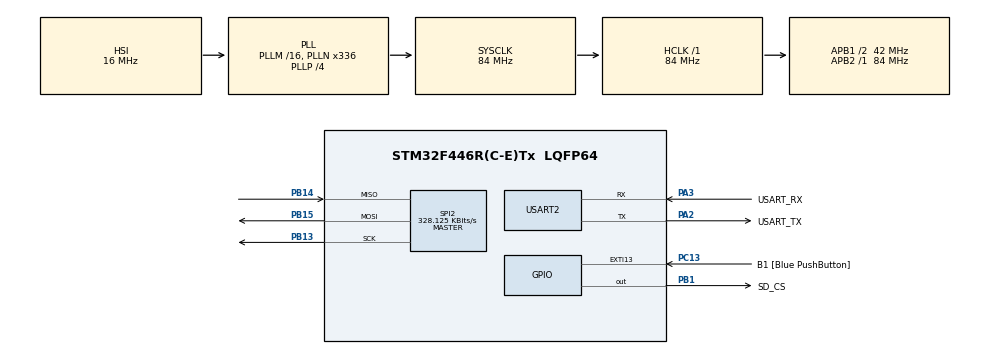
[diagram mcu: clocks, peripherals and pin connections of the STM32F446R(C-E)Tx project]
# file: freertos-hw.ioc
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Mcu.Family=STM32F4
Mcu.Name=STM32F446R(C-E)Tx
Mcu.Package=LQFP64
NVIC.PriorityGroup=NVIC_PRIORITYGROUP_0
PA13.GPIO_Label=TMS
PA13.Mode=Serial_Wire
PA13.Signal=SYS_JTMS-SWDIO
PA14.GPIO_Label=TCK
PA14.Mode=Serial_Wire
PA14.Signal=SYS_JTCK-SWCLK
PA2.GPIO_Label=USART_TX
PA2.Mode=Asynchronous
PA2.Signal=USART2_TX
PA3.GPIO_Label=USART_RX
PA3.Mode=Asynchronous
PA3.Signal=USART2_RX
PB1.GPIO_Label=SD_CS
PB1.Signal=GPIO_Output
PB12.Signal=SPI2_NSS
PB13.Mode=Full_Duplex_Master
PB13.Signal=SPI2_SCK
PB14.Mode=Full_Duplex_Master
PB14.Signal=SPI2_MISO
PB15.Mode=Full_Duplex_Master
PB15.Signal=SPI2_MOSI
PB3.GPIO_Label=SWO
PB3.Signal=SYS_JTDO-SWO
PC13.GPIO_Label=B1 [Blue PushButton]
PC13.GPIO_ModeDefaultEXTI=GPIO_MODE_IT_FALLING
PC13.Signal=GPXTI13
PC14-OSC32_IN.Mode=LSE-External-Oscillator
PC14-OSC32_IN.Signal=RCC_OSC32_IN
PC15-OSC32_OUT.Mode=LSE-External-Oscillator
PC15-OSC32_OUT.Signal=RCC_OSC32_OUT
PH0-OSC_IN.Mode=HSE-External-Oscillator
PH0-OSC_IN.Signal=RCC_OSC_IN
PH1-OSC_OUT.Mode=HSE-External-Oscillator
PH1-OSC_OUT.Signal=RCC_OSC_OUT
ProjectManager.HeapSize=0x200
ProjectManager.StackSize=0x400
ProjectManager.TargetToolchain=STM32CubeIDE
RCC.48MHZClocksFreq_Value=84000000
RCC.AHBFreq_Value=84000000
RCC.APB1CLKDivider=RCC_HCLK_DIV2
RCC.APB1Freq_Value=42000000
RCC.APB1TimFreq_Value=84000000
RCC.APB2Freq_Value=84000000
RCC.APB2TimFreq_Value=84000000
RCC.CortexFreq_Value=84000000
RCC.FLatency-AdvancedSettings=FLASH_LATENCY_2
RCC.HCLKFreq_Value=84000000
RCC.HSE_VALUE=8000000
RCC.HSI_VALUE=16000000
RCC.PLLN=336
RCC.PLLP=RCC_PLLP_DIV4
RCC.SYSCLKFreq_VALUE=84000000
RCC.SYSCLKSource=RCC_SYSCLKSOURCE_PLLCLK
RCC.USBFreq_Value=168000000
RCC.VCOOutputFreq_Value=336000000
SPI2.BaudRatePrescaler=SPI_BAUDRATEPRESCALER_128
SPI2.CLKPhase=SPI_PHASE_1EDGE
SPI2.CalculateBaudRate=328.125 KBits/s
SPI2.Direction=SPI_DIRECTION_2LINES
SPI2.FirstBit=SPI_FIRSTBIT_MSB
SPI2.Mode=SPI_MODE_MASTER
SPI2.VirtualType=VM_MASTER
USART2.VirtualMode=VM_ASYNC
VP_FATFS_VS_Generic.Mode=User_defined
board=NUCLEO-F446RE

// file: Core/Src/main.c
/* USER CODE BEGIN Header */
/**
  ******************************************************************************
  * @file           : main.c
  * @brief          : Main program body
  ******************************************************************************
  * @attention
  *
  * Copyright (c) 2023 STMicroelectronics.
  * All rights reserved.
  *
  * This software is licensed under terms that can be found in the LICENSE file
  * in the root directory of this software component.
  * If no LICENSE file comes with this software, it is provided AS-IS.
  *
  ******************************************************************************
  */
/* USER CODE END Header */
#include "stdarg.h"
#include "main.h"
#include "fatfs.h"

/* USER CODE BEGIN PD */
// HAL_GPIO_WritePin	(	GPIO_TypeDef * 	GPIOx,
//uint16_t 	GPIO_Pin,
//GPIO_PinState 	PinState
//)

#define SD_CS_PIN  GPIO_PIN_1
#define SD_CS_BANK GPIOB
#define SD_CS_LOW()   HAL_GPIO_WritePin	(SD_CS_BANK,SD_CS_PIN,GPIO_PIN_RESET)
#define SD_CS_HIGH()  HAL_GPIO_WritePin	(SD_CS_BANK,SD_CS_PIN,GPIO_PIN_SET)
#define N_CS 8
//CMD DEFS

typedef enum {
	CMD0 = 0, //GO_IDLE_STATE
	CMD1 = 1,//SEND_OP_CMD
	ACMD41 = 41, //APP_SEND_OP_CODE - SDC only - app cmd
	CMD8 = 8, //SEND_IF_COND
	CMD9 = 9, //SEND_CSD
	CMD10= 10, //SEND_CID
	CMD12 = 12, //STOP_TRANSMISSION
	CMD16 = 16, //SET_BLOCKLEN
	CMD17 = 17, //READ_SINGLE_BLOCK
	CMD18 = 18, //READ_MULTIPLE_BLOCKS
	CMD23 = 23, // SET_BLOCK_COUNT if appcmd first, becomes SET_WE_BLOCK_ERASE_CNT
	ACMD23 = 23|0x40, //SET_WE_BLOCK_ERASE_CNT - really 23, names like this to prevent conflict
	CMD24 = 24, //WRITE_BLOCK
	CMD25 = 25, //WRITE_MULTIPLE_BLOCK
	CMD55 = 55, //APP_CMD must precede any app cmd
	CMD58 = 58 //READ_OCR
}SD_cmd_t;

/* USER CODE END PD */

SPI_HandleTypeDef hspi2;

UART_HandleTypeDef huart2;

void SystemClock_Config(void);
static void MX_GPIO_Init(void);
static void MX_USART2_UART_Init(void);
static void MX_SPI2_Init(void);
/* USER CODE BEGIN PFP */
#define PUTCHAR_PROTOTYPE int __io_putchar(int ch)
/* USER CODE END PFP */

/* USER CODE BEGIN 0 */

uint8_t CRCTable[256];
void GenerateCRCTable();
uint8_t CRCAdd(uint8_t CRC_val , uint8_t message_byte);
uint8_t getCRC(uint8_t message[], int length);
uint8_t fixedPointLog2(uint8_t val);

//Really should be error type
//Should also take read buffer? write buffer?
uint8_t send_SD_cmd(SD_cmd_t cmd, uint32_t cmd_arg){

	//should assert that resp!=NULL
	/*if( (cmd==ACMD41)||(cmd==ACMD23)){
		uint8_t acmd_resp = send_SD_cmd(CMD55,0);
		if(acmd_resp == 0xFF){
			return 0xFF;
		}
	}*/

	uint8_t tx_high = 0xFF;

	uint8_t MSG[35] = {'\0'};
	uint8_t spi_rx = 0xFF;
	uint8_t rec_res = 0;
	printf("cmd:%u\n",cmd);
    HAL_SPI_Transmit(&hspi2, &tx_high , 1, 50);
    HAL_SPI_Transmit(&hspi2, &tx_high , 1, 50);

	HAL_StatusTypeDef status;
	uint8_t spi_tx_bf[6] = {0};

	spi_tx_bf[0] = (0x40)| cmd;

	spi_tx_bf[4] =  cmd_arg & 0x000000FF;
	spi_tx_bf[3] = (cmd_arg & 0x0000FF00) >> 8;
	spi_tx_bf[2] = (cmd_arg & 0x00FF0000) >> 16;
	spi_tx_bf[1] = (cmd_arg & 0xFF000000) >> 24;

	spi_tx_bf[5] = (getCRC(spi_tx_bf,5)<<1)  + 1;

	printf(MSG, "cmd:%u %u %u %u %u %u\n",spi_tx_bf[0],spi_tx_bf[1],spi_tx_bf[2],spi_tx_bf[3],spi_tx_bf[4],spi_tx_bf[5]);

    HAL_SPI_Transmit(&hspi2, spi_tx_bf , 6, 50);

	int count = 0;

	while( count<N_CS && !rec_res  ){
		HAL_SPI_TransmitReceive(&hspi2, &tx_high, &spi_rx , 1, 50);
		if( (spi_rx&0x80) == 0){
			rec_res = 1;
		}
		printf("resp:%u\n",spi_rx);

		count++;
	}
	//will this work?

	if(cmd!=CMD58 && cmd!=CMD8 && spi_rx!=0xFF){
		uint8_t spi_rx_clear = 0x0;

		for(int ii=0; ii<8; ii++){
			HAL_SPI_TransmitReceive(&hspi2, &tx_high, &spi_rx_clear , 1, 50);
			printf("clr return:%u\n",spi_rx_clear);
			if(spi_rx_clear==0xFF){
				break;
			}
		}
	}

	return spi_rx;
}

void get_OCR(uint8_t* ocr){
	    uint8_t tx_high = 0xFF;
		uint8_t rx_buff[4] = {0};
		HAL_SPI_TransmitReceive(&hspi2, &tx_high, ocr, 1, 50);
		HAL_SPI_TransmitReceive(&hspi2, &tx_high, ocr+1, 1, 50);
		HAL_SPI_TransmitReceive(&hspi2, &tx_high, ocr+2, 1, 50);
		HAL_SPI_TransmitReceive(&hspi2, &tx_high, ocr+3, 1, 50);

		//sprintf(MSG, "trail:%u %u %u %u\n",ocr[0],ocr[1],ocr[2],ocr[3]);
		//HAL_UART_Transmit(&huart2, MSG, sizeof(MSG), 100);
		printf("trail:%u %u %u %u\n",ocr[0],ocr[1],ocr[2],ocr[3]);
		uint8_t spi_rx_clear = 0x0;
		while(spi_rx_clear!=0xFF){
			HAL_SPI_TransmitReceive(&hspi2, &tx_high, &spi_rx_clear , 1, 50);
		}
}

	//spare cpi cycles
	//HAL_SPI_Transmit(&hspi2, &tx_high , 1, 0);

	//SD_CS_HIGH();
	//HAL_SPI_Transmit(&hspi2, &tx_high , 1, 0);

/* USER CODE END 0 */

int main(void)
{

  /* MCU Configuration--------------------------------------------------------*/

  /* Reset of all peripherals, Initializes the Flash interface and the Systick. */
  HAL_Init();

  /* Configure the system clock */
  SystemClock_Config();

  /* Initialize all configured peripherals */
  MX_GPIO_Init();
  MX_USART2_UART_Init();
  MX_SPI2_Init();
  MX_FATFS_Init();
  /* USER CODE BEGIN 2 */

  GenerateCRCTable();

  printf("\n-------------\n-------------\n  Starting...\n-------------\n\n-------------\n\n\n");

  uint8_t spi_tx = 0xFF;
  uint8_t spi_rx = 0x00;

    //init seq
	for(int ii = 0; ii<2; ii++){
		HAL_SPI_Transmit(&hspi2, &spi_tx , 1, 0);
	}
	SD_CS_HIGH();

	for(int ii = 0; ii<2; ii++){
		HAL_SPI_Transmit(&hspi2, &spi_tx , 1, 0);
	}
	HAL_Delay(50); //delay at least 1 ms

	  //only need 72, do a bunch more
	for(int ii = 0; ii<10; ii++){
		HAL_SPI_Transmit(&hspi2, &spi_tx , 1, 0);
	}

	uint8_t R1_resp = 0;
	uint8_t ocr[4] = {0};

	for(int ii = 0; ii<2; ii++){
		HAL_SPI_Transmit(&hspi2, &spi_tx , 1, 0);
	}
	SD_CS_LOW();
	for(int ii = 0; ii<2; ii++){
		HAL_SPI_Transmit(&hspi2, &spi_tx , 1, 0);
	}

	/*
	R1_resp = send_SD_cmd(CMD58,0x00000000);
    get_OCR(ocr);
	R1_resp = send_SD_cmd(CMD58,0x00000000);
    get_OCR(ocr);
	R1_resp = send_SD_cmd(CMD58,0x00000000);

	get_OCR(ocr);
    printf("OCR status:\n");
    printf("\tCCS(0=bytes,1=blocks):%u\n", (ocr[3]>>6)&0x01 );
    if(ocr[2]==0x00){
    	printf("Error: No voltage range specified\n");
    }
    else{
    	uint8_t min_voltage = fixedPointLog2(ocr[2] & (~ocr[2] + 1));
    	uint8_t max_voltage = fixedPointLog2(ocr[2]);
    	printf("\tmin,max:%u %u\n",min_voltage,max_voltage);

    }
	*/

	R1_resp = send_SD_cmd(CMD0,0);

	uint8_t SD_valid = 0;

	if(R1_resp == 0x01){

    	for(int ii = 0; ii<2; ii++){
    		HAL_SPI_Transmit(&hspi2, &spi_tx , 1, 0);
    	}
    	SD_CS_HIGH();
    	for(int ii = 0; ii<2; ii++){
    		HAL_SPI_Transmit(&hspi2, &spi_tx , 1, 0);
    	}
    	for(int ii = 0; ii<2; ii++){
    		HAL_SPI_Transmit(&hspi2, &spi_tx , 1, 0);
    	}
    	SD_CS_LOW();
    	for(int ii = 0; ii<2; ii++){
    		HAL_SPI_Transmit(&hspi2, &spi_tx , 1, 0);
    	}
		R1_resp = send_SD_cmd(CMD8,0x01AA);
	    get_OCR(ocr);

	    if( (R1_resp!=0x01)){ //if error or no response, SD1 or MMC
	    	printf("SD 1.0 or MMC\n");

	    }
	    else if( (ocr[2] == 0x01)&&(ocr[3] == 0xAA)  ){ //SD v2
	    	printf("SD 2.0+\n");

	    	for(int ii = 0; ii<2; ii++){
	    		HAL_SPI_Transmit(&hspi2, &spi_tx , 1, 0);
	    	}
	    	SD_CS_HIGH();
	    	for(int ii = 0; ii<2; ii++){
	    		HAL_SPI_Transmit(&hspi2, &spi_tx , 1, 0);
	    	}
	    	for(int ii = 0; ii<2; ii++){
	    		HAL_SPI_Transmit(&hspi2, &spi_tx , 1, 0);
	    	}
	    	SD_CS_LOW();
	    	for(int ii = 0; ii<2; ii++){
	    		HAL_SPI_Transmit(&hspi2, &spi_tx , 1, 0);
	    	}

	    	R1_resp = send_SD_cmd(CMD58,0x00000000);
	    	get_OCR(ocr);
	    	printf("Voltage supported:%u\n",ocr[1]&0x38==0x38);

	    	for(int ii = 0; ii<2; ii++){
	    		HAL_SPI_Transmit(&hspi2, &spi_tx , 1, 0);
	    	}
	    	SD_CS_HIGH();
	    	for(int ii = 0; ii<2; ii++){
	    		HAL_SPI_Transmit(&hspi2, &spi_tx , 1, 0);
	    	}
	    	for(int ii = 0; ii<2; ii++){
	    		HAL_SPI_Transmit(&hspi2, &spi_tx , 1, 0);
	    	}
	    	SD_CS_LOW();
	    	for(int ii = 0; ii<2; ii++){
	    		HAL_SPI_Transmit(&hspi2, &spi_tx , 1, 0);
	    	}

	    	for(int ii=0; ii<2000; ii++){ //replace this with a proper timed loop

		    	for(int ii = 0; ii<2; ii++){
		    		HAL_SPI_Transmit(&hspi2, &spi_tx , 1, 0);
		    	}
		    	SD_CS_HIGH();
		    	for(int ii = 0; ii<2; ii++){
		    		HAL_SPI_Transmit(&hspi2, &spi_tx , 1, 0);
		    	}
		    	for(int ii = 0; ii<2; ii++){
		    		HAL_SPI_Transmit(&hspi2, &spi_tx , 1, 0);
		    	}
		    	SD_CS_LOW();
		    	for(int ii = 0; ii<2; ii++){
		    		HAL_SPI_Transmit(&hspi2, &spi_tx , 1, 0);
		    	}

//	    		R1_resp = send_SD_cmd(ACMD41,0x40000000);
	    		R1_resp = send_SD_cmd(CMD55,0x40FF8000);

		    	for(int ii = 0; ii<2; ii++){
		    		HAL_SPI_Transmit(&hspi2, &spi_tx , 1, 0);
		    	}
		    	SD_CS_HIGH();
		    	for(int ii = 0; ii<2; ii++){
		    		HAL_SPI_Transmit(&hspi2, &spi_tx , 1, 0);
		    	}
		    	for(int ii = 0; ii<2; ii++){
		    		HAL_SPI_Transmit(&hspi2, &spi_tx , 1, 0);
		    	}
		    	SD_CS_LOW();
		    	for(int ii = 0; ii<2; ii++){
		    		HAL_SPI_Transmit(&hspi2, &spi_tx , 1, 0);
		    	}

//	    		R1_resp = send_SD_cmd(ACMD41,0x40000000);
	    		R1_resp = send_SD_cmd(ACMD41,0x40FF8000);

	    		printf("returned\n");
	    		if(R1_resp==0x00){
	    			break;

	    		}
	    	}

	    	for(int ii = 0; ii<2; ii++){
	    		HAL_SPI_Transmit(&hspi2, &spi_tx , 1, 0);
	    	}
	    	SD_CS_HIGH();
	    	for(int ii = 0; ii<2; ii++){
	    		HAL_SPI_Transmit(&hspi2, &spi_tx , 1, 0);
	    	}
	    	for(int ii = 0; ii<2; ii++){
	    		HAL_SPI_Transmit(&hspi2, &spi_tx , 1, 0);
	    	}
	    	SD_CS_LOW();
	    	for(int ii = 0; ii<2; ii++){
	    		HAL_SPI_Transmit(&hspi2, &spi_tx , 1, 0);
	    	}

	    	R1_resp = send_SD_cmd(CMD58,0x00000000);
	    	get_OCR(ocr);

    	    printf("OCR status:\n");
    	    printf("\tCCS(0=bytes,1=blocks):%u\n", (ocr[3]>>6)&0x01 );
    	    if(ocr[2]==0x00){
    	    	printf("Error: No voltage range specified\n");
    	    }

	    	R1_resp = send_SD_cmd(CMD58,0x00000000);
	    	get_OCR(ocr);

    	    printf("OCR status:\n");
    	    printf("\tCCS(0=bytes,1=blocks):%u\n", (ocr[3]>>6)&0x01 );
    	    if(ocr[2]==0x00){
    	    	printf("Error: No voltage range specified\n");
    	    }

    	    else{
    	    	uint8_t min_voltage = fixedPointLog2(ocr[2] & (~ocr[2] + 1));
    	    	uint8_t max_voltage = fixedPointLog2(ocr[2]);
    	    	printf("\tmin,max:%u %u\n",min_voltage,max_voltage);

    	    }
	    }
	    else{
			printf("error, CMD8 response:%u\n",R1_resp);

	    }
	    //else,  simply error
	}
	else{
		printf("error, CMD0 response:%u\n",R1_resp);
	}

	R1_resp = send_SD_cmd(CMD8,0x01AA);
    get_OCR(ocr);

	for(int ii = 0; ii<2; ii++){
		HAL_SPI_Transmit(&hspi2, &spi_tx , 1, 0);
	}
	SD_CS_HIGH();
	for(int ii = 0; ii<2; ii++){
		HAL_SPI_Transmit(&hspi2, &spi_tx , 1, 0);
	}
//	sprintf(MSG, "resp:%u\n",cmd_resp[0]);
//	HAL_UART_Transmit(&huart2, MSG, sizeof(MSG), 100);

  //send_SD_cmd(SEND_IF_COND,0x1AA);

  //
  //
  //

  /* USER CODE END 2 */

  /* Infinite loop */
  /* USER CODE BEGIN WHILE */

  uint8_t parity = 0;
  spi_tx = 0xFF;
  while (1)
  {
//	  HAL_SPI_TransmitReceive(&hspi2, &spi_tx , &spi_rx, 1, 0);
//	  sprintf(MSG, "Received:%u\n",spi_rx);
//	  HAL_UART_Transmit(&huart2, MSG, sizeof(MSG), 100);

	  //HAL_GPIO_TogglePin(GPIOB, SD_CS);

	  HAL_Delay(5000);
    /* USER CODE END WHILE */

  }
}

void SystemClock_Config(void)
{
  RCC_OscInitTypeDef RCC_OscInitStruct = {0};
  RCC_ClkInitTypeDef RCC_ClkInitStruct = {0};

  /** Configure the main internal regulator output voltage
  */
  __HAL_RCC_PWR_CLK_ENABLE();
  __HAL_PWR_VOLTAGESCALING_CONFIG(PWR_REGULATOR_VOLTAGE_SCALE3);
  /** Initializes the RCC Oscillators according to the specified parameters
  * in the RCC_OscInitTypeDef structure.
  */
  RCC_OscInitStruct.OscillatorType = RCC_OSCILLATORTYPE_HSI;
  RCC_OscInitStruct.HSIState = RCC_HSI_ON;
  RCC_OscInitStruct.HSICalibrationValue = RCC_HSICALIBRATION_DEFAULT;
  RCC_OscInitStruct.PLL.PLLState = RCC_PLL_ON;
  RCC_OscInitStruct.PLL.PLLSource = RCC_PLLSOURCE_HSI;
  RCC_OscInitStruct.PLL.PLLM = 16;
  RCC_OscInitStruct.PLL.PLLN = 336;
  RCC_OscInitStruct.PLL.PLLP = RCC_PLLP_DIV4;
  RCC_OscInitStruct.PLL.PLLQ = 2;
  RCC_OscInitStruct.PLL.PLLR = 2;
  if (HAL_RCC_OscConfig(&RCC_OscInitStruct) != HAL_OK)
  {
    Error_Handler();
  }
  /** Initializes the CPU, AHB and APB buses clocks
  */
  RCC_ClkInitStruct.ClockType = RCC_CLOCKTYPE_HCLK|RCC_CLOCKTYPE_SYSCLK
                              |RCC_CLOCKTYPE_PCLK1|RCC_CLOCKTYPE_PCLK2;
  RCC_ClkInitStruct.SYSCLKSource = RCC_SYSCLKSOURCE_PLLCLK;
  RCC_ClkInitStruct.AHBCLKDivider = RCC_SYSCLK_DIV1;
  RCC_ClkInitStruct.APB1CLKDivider = RCC_HCLK_DIV2;
  RCC_ClkInitStruct.APB2CLKDivider = RCC_HCLK_DIV1;

  if (HAL_RCC_ClockConfig(&RCC_ClkInitStruct, FLASH_LATENCY_2) != HAL_OK)
  {
    Error_Handler();
  }
}

static void MX_SPI2_Init(void)
{

  /* SPI2 parameter configuration*/
  hspi2.Instance = SPI2;
  hspi2.Init.Mode = SPI_MODE_MASTER;
  hspi2.Init.Direction = SPI_DIRECTION_2LINES;
  hspi2.Init.DataSize = SPI_DATASIZE_8BIT;
  hspi2.Init.CLKPolarity = SPI_POLARITY_LOW;
  hspi2.Init.CLKPhase = SPI_PHASE_1EDGE;
  hspi2.Init.NSS = SPI_NSS_SOFT;
  hspi2.Init.BaudRatePrescaler = SPI_BAUDRATEPRESCALER_128;
  hspi2.Init.FirstBit = SPI_FIRSTBIT_MSB;
  hspi2.Init.TIMode = SPI_TIMODE_DISABLE;
  hspi2.Init.CRCCalculation = SPI_CRCCALCULATION_DISABLE;
  hspi2.Init.CRCPolynomial = 10;
  if (HAL_SPI_Init(&hspi2) != HAL_OK)
  {
    Error_Handler();
  }

}

static void MX_USART2_UART_Init(void)
{

  huart2.Instance = USART2;
  huart2.Init.BaudRate = 115200;
  huart2.Init.WordLength = UART_WORDLENGTH_8B;
  huart2.Init.StopBits = UART_STOPBITS_1;
  huart2.Init.Parity = UART_PARITY_NONE;
  huart2.Init.Mode = UART_MODE_TX_RX;
  huart2.Init.HwFlowCtl = UART_HWCONTROL_NONE;
  huart2.Init.OverSampling = UART_OVERSAMPLING_16;
  if (HAL_UART_Init(&huart2) != HAL_OK)
  {
    Error_Handler();
  }

}

static void MX_GPIO_Init(void)
{
  GPIO_InitTypeDef GPIO_InitStruct = {0};

  /* GPIO Ports Clock Enable */
  __HAL_RCC_GPIOC_CLK_ENABLE();
  __HAL_RCC_GPIOH_CLK_ENABLE();
  __HAL_RCC_GPIOA_CLK_ENABLE();
  __HAL_RCC_GPIOB_CLK_ENABLE();

  /*Configure GPIO pin Output Level */
  HAL_GPIO_WritePin(SD_CS_GPIO_Port, SD_CS_Pin, GPIO_PIN_RESET);

  /*Configure GPIO pin : B1_Pin */
  GPIO_InitStruct.Pin = B1_Pin;
  GPIO_InitStruct.Mode = GPIO_MODE_IT_FALLING;
  GPIO_InitStruct.Pull = GPIO_NOPULL;
  HAL_GPIO_Init(B1_GPIO_Port, &GPIO_InitStruct);

  /*Configure GPIO pin : SD_CS_Pin */
  GPIO_InitStruct.Pin = SD_CS_Pin;
  GPIO_InitStruct.Mode = GPIO_MODE_OUTPUT_PP;
  GPIO_InitStruct.Pull = GPIO_NOPULL;
  GPIO_InitStruct.Speed = GPIO_SPEED_FREQ_LOW;
  HAL_GPIO_Init(SD_CS_GPIO_Port, &GPIO_InitStruct);

}

/* USER CODE BEGIN 4 */

PUTCHAR_PROTOTYPE
{
  /* Place your implementation of fputc here */
  /* e.g. write a character to the USART1 and Loop until the end of transmission */
  HAL_UART_Transmit(&huart2, (uint8_t *)&ch, 1, 0xFFFF);

  return ch;
}

void GenerateCRCTable()
{
  int i, j;
  uint8_t CRCPoly = 0x89;  // the value of our CRC-7 polynomial

  // generate a table value for all 256 possible byte values
  for (i = 0; i < 256; ++i) {
    CRCTable[i] = (i & 0x80) ? i ^ CRCPoly : i;
    for (j = 1; j < 8; ++j) {
        CRCTable[i] <<= 1;
        if (CRCTable[i] & 0x80){
            CRCTable[i] ^= CRCPoly;
        }
    }
  }
}

/*
// adds a message byte to the current CRC-7 to get a the new CRC-7
uint8_t CRCAdd(uint8_t CRC, uint8_t message_byte)
{
	return 0;
 //   return CRCTable[(CRC << 1) ^ message_byte];
}*/
uint8_t CRCAdd(uint8_t CRC_val , uint8_t message_byte){
	 return CRCTable[(CRC_val << 1) ^ message_byte];
}

// returns the CRC-7 for a message of "length" bytes
uint8_t getCRC(uint8_t message[], int length)
{

  int i;
  uint8_t CRC_val = 0;

  for (i = 0; i < length; ++i){
	  CRC_val = CRCAdd(CRC_val, message[i]);
  }

  return CRC_val;

}

uint8_t fixedPointLog2(uint8_t val){
	uint8_t r = 0;
	while (val >>= 1) // unroll for more speed...
	{
	  r++;
	}
	return r;
}

/* USER CODE END 4 */

void Error_Handler(void)
{
  __disable_irq();
  while (1)
  {
  }
}
